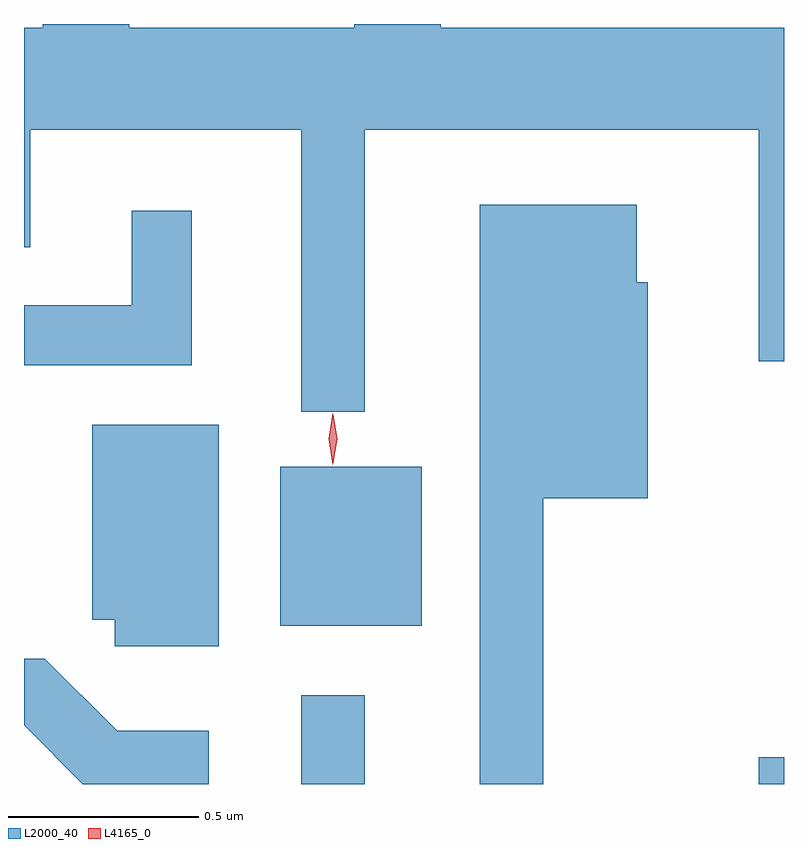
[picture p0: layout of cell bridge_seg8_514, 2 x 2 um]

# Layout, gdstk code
import gdstk
lib = gdstk.Library(unit=1e-6, precision=1e-09)
def R(c, l, rs):  # rectangles x0, y0, x1, y1
    for r in rs: c.add(gdstk.rectangle(r[:2], r[2:], *l))
def P(c, l, *ps):  # polygons
    for p in ps: c.add(gdstk.Polygon(p, *l))
L2000_40 = (2000, 40)
L4165_0 = (4165, 0)

bridge_seg8_514 = lib.new_cell('bridge_seg8_514')
R(bridge_seg8_514, L2000_40, [(333.751,1881.314,333.919,1881.548), (334.956,1881.314,335.022,1881.384), (333.696,1881.731,334.069,1882.149)])
P(bridge_seg8_514, L2000_40, [(333.022,1882.726),(333.039,1882.726),(333.039,1883.036),(333.751,1883.036),(333.751,1882.293),(333.919,1882.293),(333.919,1883.036),(334.956,1883.036),(334.956,1882.426),(335.022,1882.426),(335.022,1883.304),(334.119,1883.304),(334.119,1883.314),(333.891,1883.314),(333.891,1883.304),(333.299,1883.304),(333.299,1883.314),(333.071,1883.314),(333.071,1883.304),(333.022,1883.304)],
  [(334.389,1882.066),(334.664,1882.066),(334.664,1882.634),(334.634,1882.634),(334.634,1882.839),(334.221,1882.839),(334.221,1881.314),(334.389,1881.314)],
  [(333.464,1882.823),(333.306,1882.823),(333.306,1882.574),(333.022,1882.574),(333.022,1882.416),(333.464,1882.416)],
  [(333.534,1882.259),(333.201,1882.259),(333.201,1881.746),(333.261,1881.746),(333.261,1881.676),(333.534,1881.676)],
  [(333.508,1881.454),(333.267,1881.454),(333.077,1881.644),(333.022,1881.644),(333.022,1881.468),(333.176,1881.314),(333.508,1881.314)])
P(bridge_seg8_514, L4165_0, [(333.834,1882.154),(333.834,1882.154),(333.824,1882.222),(333.834,1882.29),(333.834,1882.29),(333.835,1882.29),(333.844,1882.222),(333.835,1882.154)],
  [(333.836,1882.158),(333.836,1882.158),(333.826,1882.222),(333.834,1882.287),(333.835,1882.287),(333.836,1882.287),(333.846,1882.223),(333.836,1882.158)])

lib.write_gds('bridge_seg8_514.gds')
